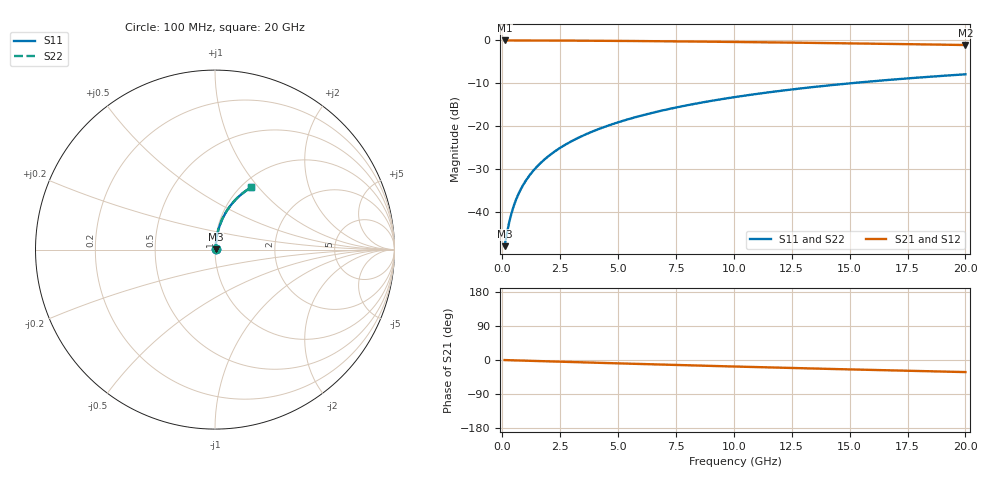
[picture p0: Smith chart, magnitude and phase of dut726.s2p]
! Touchstone file exported from HFSS 2024.1.0
!  File:  C:/UserFiles/LocalFiles/RDL_TSV_Batchsim/temp_RDL_bottom_726_1779858689.aedt
!  Generated:  01:14:28 PM May 27, 2026
!  Design:  RDL_bottom
!  Project:  temp_RDL_bottom_726_1779858689
!  Setup:  Setup1
!  Solution:  Sweep
! Variables:
!  dtsv = 10.80580581um
!  hbump = 3um
!  htsv = 90.1um
!  ldown = 363.93um
!  lrdl = 100um
!  p = 40
!  p1 = 52.23um
!  rhole = 1um
!  t = 450um
!  tdown = 3.88um
!  trdl = 3.915915916um
!  wdown = 10.42um
!  wrdl = 20um
# GHz S MA R 50.000000
! Terminal data exported
! Port[1] = RDL1_T1
! Port[2] = RDL1_T2
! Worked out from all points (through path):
!   200 points, 100 MHz to 20 GHz, reference 50 ohm
!   highest |S21| = -0.03 dB at 100 MHz (marker M1); lowest = -1.1 dB at 20 GHz (marker M2)
!   group delay of S21, straight-line fit = 4.42 ps
!   lowest |S11| = -48.0 dB at 100 MHz (marker M3), VSWR 1.01, Z = 50.3 + j0.23 ohm
!   |S11| at or under -10 dB: start of sweep to 15.06 GHz
!   |S22| runs from -48.0 to -7.9 dB; largest |S21 - S12| = 2.6e-15
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0.1  0.003983 34.9  0.9967 -0.2  0.9967 -0.2  0.003983 34.9
! Gamma 0 0 0 0
! Port Impedance 50 0 50 0
0.2  0.005629 54.0  0.9967 -0.4  0.9967 -0.4  0.005629 54.0
0.3  0.007606 63.7  0.9966 -0.6  0.9966 -0.6  0.007606 63.7
0.4  0.009702 69.1  0.9966 -0.7  0.9966 -0.7  0.009701 69.1
0.5  0.01185 72.5  0.9965 -0.9  0.9965 -0.9  0.01184 72.5
0.6  0.01401 74.9  0.9964 -1.1  0.9964 -1.1  0.01401 74.9
0.8  0.01837 77.8  0.9962 -1.5  0.9962 -1.5  0.01837 77.8
1.1  0.02495 80.1  0.9958 -2.0  0.9958 -2.0  0.02494 80.1
1.5  0.03375 81.5  0.9953 -2.7  0.9953 -2.7  0.03374 81.5
1.8  0.04036 82.0  0.9948 -3.2  0.9948 -3.2  0.04036 82.1
2.1  0.04698 82.3  0.9943 -3.8  0.9943 -3.8  0.04698 82.3
2.7  0.06022 82.3  0.9929 -4.9  0.9929 -4.9  0.06022 82.4
3.5  0.07785 81.9  0.9906 -6.3  0.9906 -6.3  0.07785 81.9
4.2  0.09323 81.3  0.9883 -7.5  0.9883 -7.5  0.09324 81.3
5  0.1107 80.4  0.9851 -8.9  0.9851 -8.9  0.1107 80.4
5.9  0.1303 79.3  0.9811 -10.4  0.9811 -10.4  0.1303 79.3
6.8  0.1497 78.1  0.9766 -11.9  0.9766 -11.9  0.1498 78.1
8.3  0.1817 76.1  0.9683 -14.4  0.9683 -14.4  0.1817 76.1
10.1  0.2192 73.5  0.9571 -17.3  0.9571 -17.3  0.2192 73.6
13.4  0.2849 68.8  0.9341 -22.4  0.9341 -22.4  0.285 68.9
16.7  0.3459 64.1  0.9088 -27.3  0.9088 -27.3  0.346 64.2
20  0.4016 59.7  0.882 -31.9  0.882 -31.9  0.4018 59.8
